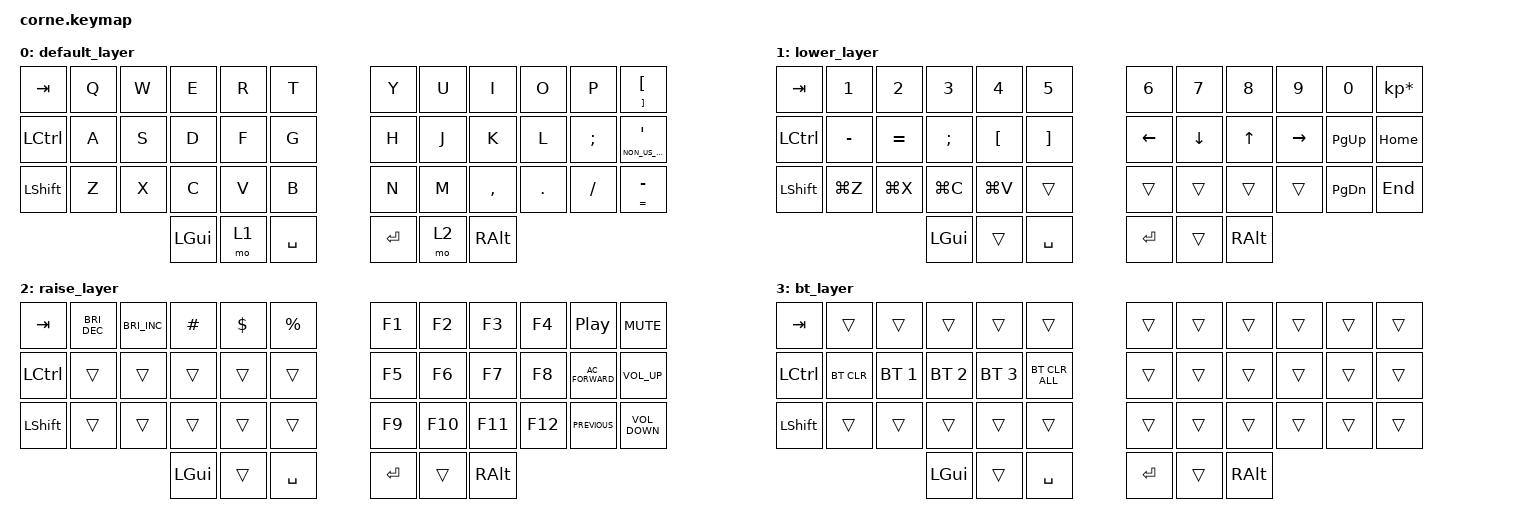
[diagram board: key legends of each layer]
/*
 * Copyright (c) 2020 The ZMK Contributors
 *
 * SPDX-License-Identifier: MIT
 */

#include <behaviors.dtsi>
#include <dt-bindings/zmk/bt.h>
#include <dt-bindings/zmk/keys.h>

/ {
    combos {
        compatible = "zmk,combos";

        combo_esc {
            timeout-ms = <50>;
            key-positions = <0 1>;
            bindings = <&kp ESC>;
        };

        combo_backspace {
            bindings = <&kp BACKSPACE>;
            key-positions = <10 11>;
            timeout-ms = <50>;
            layers = <0 2>;
        };

        combo_delete {
            bindings = <&kp DELETE>;
            key-positions = <22 23>;
        };

        combo_printscreen {
            bindings = <&kp UNDERSCORE>;
            key-positions = <17 18>;
        };

        combo_star {
            bindings = <&kp STAR>;
            key-positions = <5 6>;
        };
    };

    behaviors {
        ss_hs_modmorph: ss_hs_modmorph {
            compatible = "zmk,behavior-mod-morph";
            label = "SS_HS_MODMORPH";
            bindings = <&kp M>, <&kp RIGHT_BRACKET>;

            #binding-cells = <0>;
            mods = <(MOD_LSFT|MOD_RSFT)>;
        };

        kh_hs_tapdance: kh_hs_tapdance {
            compatible = "zmk,behavior-tap-dance";
            label = "KH_HS_TAPDANCE";
            #binding-cells = <0>;
            tapping-term-ms = <200>;
            bindings = <&kp LEFT_BRACKET>, <&kp RIGHT_BRACKET>;
        };

        hrm: hrm {
            compatible = "zmk,behavior-hold-tap";
            #binding-cells = <2>;
            flavor = "tap-preferred";
            tapping-term-ms = <200>;
            quick-tap-ms = <200>;
            require-prior-idle-ms = <125>;
            bindings = <&kp>, <&kp>;
        };
    };

    keymap {
        compatible = "zmk,keymap";

        default_layer {
            // -----------------------------------------------------------------------------------------
            // |  TAB |  Q  |  W  |  E  |  R  |  T  |   |  Y  |  U   |  I  |  O  |  P  | BKSP |
            // | CTRL |  A  |  S  |  D  |  F  |  G  |   |  H  |  J   |  K  |  L  |  ;  |  '   |
            // | SHFT |  Z  |  X  |  C  |  V  |  B  |   |  N  |  M   |  ,  |  .  |  /  | ESC  |
            //                    | GUI | LWR | SPC |   | ENT | RSE  | ALT |

            bindings = <
&kp TAB    &kp Q  &kp W  &kp E     &kp R  &kp T        &kp Y    &kp U  &kp I      &kp O    &kp P     &mt RIGHT_BRACKET LEFT_BRACKET
&kp LCTRL  &kp A  &kp S  &kp D     &kp F  &kp G        &kp H    &kp J  &kp K      &kp L    &kp SEMI  &mt NON_US_BACKSLASH SQT
&kp LSHFT  &kp Z  &kp X  &kp C     &kp V  &kp B        &kp N    &kp M  &kp COMMA  &kp DOT  &kp FSLH  &mt EQUAL MINUS
                         &kp LGUI  &mo 1  &kp SPACE    &kp RET  &mo 2  &kp RALT
            >;
        };

        lower_layer {
            // -----------------------------------------------------------------------------------------
            // |  TAB |  1  |  2  |  3  |  4  |  5  |   |  6  |  7  |  8  |  9  |  0  | BKSP |
            // | BTCLR| BT1 | BT2 | BT3 | BT4 | BT5 |   | LFT | DWN |  UP | RGT |     |      |
            // | SHFT |     |     |     |     |     |   |     |     |     |     |     |      |
            //                    | GUI |     | SPC |   | ENT |     | ALT |

            bindings = <
&kp TAB    &kp NUMBER_1  &kp NUMBER_2  &kp NUMBER_3  &kp NUMBER_4  &kp N5       &kp NUMBER_6    &kp N7          &kp N8        &kp N9     &kp N0         &kp KP_ASTERISK
&kp LCTRL  &kp MINUS     &kp EQUAL     &kp SEMI      &kp LBKT      &kp RBKT     &kp LEFT_ARROW  &kp DOWN_ARROW  &kp UP_ARROW  &kp RIGHT  &kp PG_UP      &kp HOME
&kp LSHFT  &kp LG(Z)     &kp LG(X)     &kp LG(C)     &kp LG(V)     &trans       &trans          &trans          &trans        &trans     &kp PAGE_DOWN  &kp END
                                       &kp LGUI      &trans        &kp SPACE    &kp RET         &trans          &kp RALT
            >;
        };

        raise_layer {
            // -----------------------------------------------------------------------------------------
            // |  TAB |  !  |  @  |  #  |  $  |  %  |   |  ^  |  &  |  *  |  (  |  )  | BKSP |
            // | CTRL |     |     |     |     |     |   |  -  |  =  |  [  |  ]  |  \  |  `   |
            // | SHFT |     |     |     |     |     |   |  _  |  +  |  {  |  }  | "|" |  ~   |
            //                    | GUI |     | SPC |   | ENT |     | ALT |

            bindings = <
&kp TAB    &kp C_BRIGHTNESS_DEC  &kp C_BRI_INC  &kp HASH  &kp DLLR  &kp PRCNT    &kp F1   &kp F2   &kp F3    &kp F4   &kp C_PP          &kp K_MUTE
&kp LCTRL  &trans                &trans         &trans    &trans    &trans       &kp F5   &kp F6   &kp F7    &kp F8   &kp C_AC_FORWARD  &kp C_VOLUME_UP
&kp LSHFT  &trans                &trans         &trans    &trans    &trans       &kp F9   &kp F10  &kp F11   &kp F12  &kp C_PREVIOUS    &kp C_VOLUME_DOWN
                                                &kp LGUI  &trans    &kp SPACE    &kp RET  &trans   &kp RALT
            >;
        };

        bt_layer {
            bindings = <
&kp TAB    &trans      &trans        &trans        &trans        &trans            &trans   &trans  &trans    &trans  &trans  &trans
&kp LCTRL  &bt BT_CLR  &bt BT_SEL 1  &bt BT_SEL 2  &bt BT_SEL 3  &bt BT_CLR_ALL    &trans   &trans  &trans    &trans  &trans  &trans
&kp LSHFT  &trans      &trans        &trans        &trans        &trans            &trans   &trans  &trans    &trans  &trans  &trans
                                     &kp LGUI      &trans        &kp SPACE         &kp RET  &trans  &kp RALT
            >;
        };
    };

    conditional_layers {
        compatible = "zmk,conditional-layers";

        bt_layer {
            if-layers = <1 2>;
            then-layer = <3>;
        };
    };
};
